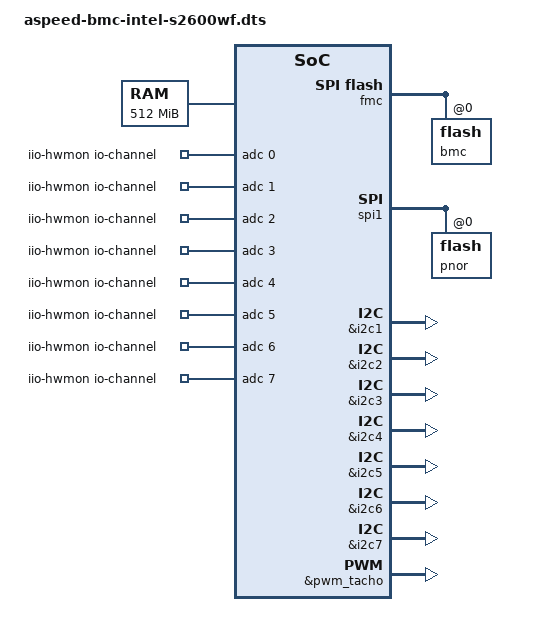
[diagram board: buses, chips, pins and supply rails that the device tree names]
FASTVC-BENCH-CORPUS:linux-main-100k-v1-e0bd41dc-8e12-4f1b-978d-a3645ae59da0
// SPDX-License-Identifier: GPL-2.0
// Copyright (c) 2017 Intel Corporation
/dts-v1/;

#include "aspeed-g5.dtsi"

/ {
/* bench 445.0.0 e0e327049640 */
/* bench 445.0.1 cd0d6cc39744 */
/* bench 445.0.2 aeb604d1f572 */
/* bench 445.0.3 95af03d9cbcd */
/* bench 445.0.4 a4ff88590342 */
/* bench 445.0.5 50d2fb1705e4 */
	chosen {
		stdout-path = &uart5;
		bootargs = "earlyprintk";
	};

	memory@80000000 {
		reg = <0x80000000 0x20000000>;
	};

	reserved-memory {
		#address-cells = <1>;
		#size-cells = <1>;
		ranges;

		vga_memory: framebuffer@9f000000 {
			no-map;
			reg = <0x9f000000 0x01000000>; /* 16M */
		};
	};

	iio-hwmon {
		compatible = "iio-hwmon";
		io-channels = <&adc 0>, <&adc 1>, <&adc 2>, <&adc 3>,
			<&adc 4>, <&adc 5>, <&adc 6>, <&adc 7>,
			<&adc 8>, <&adc 9>, <&adc 10>, <&adc 11>,
			<&adc 12>, <&adc 13>, <&adc 14>, <&adc 15>;
	};

};

&fmc {
	status = "okay";
	flash@0 {
		status = "okay";
		m25p,fast-read;
		label = "bmc";
#include "openbmc-flash-layout.dtsi"
	};
};

&spi1 {
	status = "okay";
	pinctrl-names = "default";
	pinctrl-0 = <&pinctrl_spi1_default>;

	flash@0 {
		status = "okay";
		m25p,fast-read;
		label = "pnor";
	};
};

&uart5 {
/* bench 10083.1.0 2e2f5f808422 */
/* bench 10083.1.1 80ccd7f184ec */
/* bench 10083.1.2 1b247ad12774 */
/* bench 10083.1.3 21783414905f */
/* bench 10083.1.4 3232168a49c5 */
/* bench 10083.1.5 498eba608ac7 */
/* bench 10083.1.6 77120f7f56e2 */
/* bench 10083.1.7 c966e23420ee */

&mac0 {
	status = "okay";

	pinctrl-names = "default";
	pinctrl-0 = <&pinctrl_rmii1_default>;
	clocks = <&syscon ASPEED_CLK_GATE_MAC1CLK>,
		 <&syscon ASPEED_CLK_MAC1RCLK>;
	clock-names = "MACCLK", "RCLK";
	use-ncsi;
};

&mac1 {
	status = "okay";

	pinctrl-names = "default";
	pinctrl-0 = <&pinctrl_rgmii2_default &pinctrl_mdio2_default>;
/* bench 10710.0.0 33db5b16d708 */
/* bench 10710.0.1 e3841b94774f */
/* bench 10710.0.2 7efcd24ab1e6 */
/* bench 10710.0.3 9cc26bf55810 */

&i2c1 {
	status = "okay";
};

&i2c2 {
	status = "okay";
};

&i2c3 {
	status = "okay";
};

&i2c4 {
	status = "okay";
};

&i2c5 {
	status = "okay";
};

&i2c6 {
	status = "okay";
};

&i2c7 {
	status = "okay";
};
/* bench 995.1.0 edc915781802 */
/* bench 995.1.1 4c52288fcc75 */
/* bench 995.1.2 d1991f69ab82 */
/* bench 995.1.3 cffbf1dc650c */
/* bench 995.1.4 c659df9cb8a3 */
};

&gfx {
	status = "okay";
};

&pinctrl {
	aspeed,external-nodes = <&gfx &lhc>;
};

&pwm_tacho {
	status = "okay";
	pinctrl-names = "default";
	pinctrl-0 = <&pinctrl_pwm0_default &pinctrl_pwm1_default
			 &pinctrl_pwm2_default &pinctrl_pwm3_default
			 &pinctrl_pwm4_default &pinctrl_pwm5_default
			 &pinctrl_pwm6_default &pinctrl_pwm7_default>;
};
